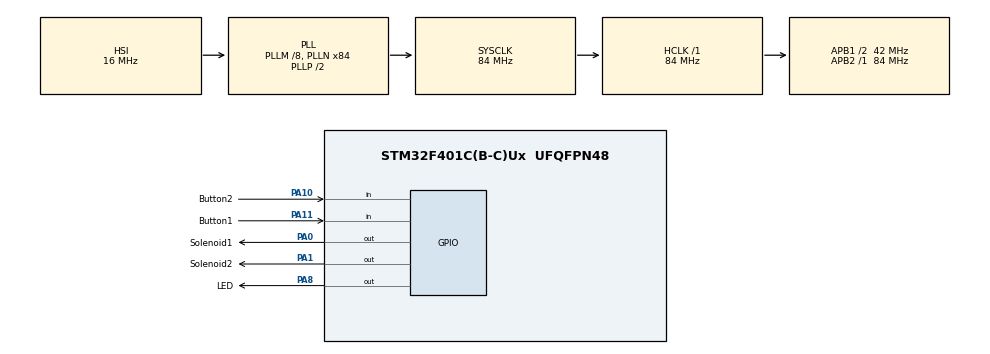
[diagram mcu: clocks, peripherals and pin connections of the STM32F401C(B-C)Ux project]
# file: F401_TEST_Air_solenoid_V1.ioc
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Mcu.Family=STM32F4
Mcu.Name=STM32F401C(B-C)Ux
Mcu.Package=UFQFPN48
NVIC.PriorityGroup=NVIC_PRIORITYGROUP_4
NVIC.TIM5_IRQn=true\:0\:0\:false\:false\:true\:true\:true\:true
PA0-WKUP.GPIO_Label=Solenoid1
PA0-WKUP.Signal=GPIO_Output
PA1.GPIO_Label=Solenoid2
PA1.Signal=GPIO_Output
PA10.GPIO_Label=Button2
PA10.Signal=GPIO_Input
PA11.GPIO_Label=Button1
PA11.Signal=GPIO_Input
PA13.Mode=Serial_Wire
PA13.Signal=SYS_JTMS-SWDIO
PA14.Mode=Serial_Wire
PA14.Signal=SYS_JTCK-SWCLK
PA8.GPIO_Label=LED
PA8.Signal=GPIO_Output
PH0\ -\ OSC_IN.Mode=HSE-External-Oscillator
PH0\ -\ OSC_IN.Signal=RCC_OSC_IN
PH1\ -\ OSC_OUT.Mode=HSE-External-Oscillator
PH1\ -\ OSC_OUT.Signal=RCC_OSC_OUT
ProjectManager.HeapSize=0x200
ProjectManager.StackSize=0x400
ProjectManager.TargetToolchain=STM32CubeIDE
RCC.48MHZClocksFreq_Value=42000000
RCC.AHBFreq_Value=84000000
RCC.APB1CLKDivider=RCC_HCLK_DIV2
RCC.APB1Freq_Value=42000000
RCC.APB1TimFreq_Value=84000000
RCC.APB2Freq_Value=84000000
RCC.APB2TimFreq_Value=84000000
RCC.CortexFreq_Value=84000000
RCC.HCLKFreq_Value=84000000
RCC.HSE_VALUE=25000000
RCC.HSI_VALUE=16000000
RCC.LSE_VALUE=32768
RCC.PLLM=8
RCC.PLLN=84
RCC.SYSCLKFreq_VALUE=84000000
RCC.SYSCLKSource=RCC_SYSCLKSOURCE_PLLCLK
RCC.VCOOutputFreq_Value=168000000
TIM5.AutoReloadPreload=TIM_AUTORELOAD_PRELOAD_ENABLE
TIM5.Period=9999
TIM5.Prescaler=143
VP_TIM5_VS_ClockSourceINT.Mode=Internal
board=custom

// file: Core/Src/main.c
/* USER CODE BEGIN Header */
/**
  ******************************************************************************
  * @file           : main.c
  * @brief          : Main program body
  ******************************************************************************
  * @attention
  *
  * Copyright (c) 2024 STMicroelectronics.
  * All rights reserved.
  *
  * This software is licensed under terms that can be found in the LICENSE file
  * in the root directory of this software component.
  * If no LICENSE file comes with this software, it is provided AS-IS.
  *
  ******************************************************************************
  */
/* USER CODE END Header */
#include "main.h"
#include "tim.h"
#include "gpio.h"

/* USER CODE BEGIN PV */

	     /* BEBOUNCE V6 */

        /*
            volatile uint8_t count = 0;
            uint8_t button1_state = GPIO_PIN_SET;
            uint8_t button2_state = GPIO_PIN_SET;
            uint8_t button1_last_state = GPIO_PIN_SET;
            uint8_t button2_last_state = GPIO_PIN_SET;
        */

    #define DEBOUNCE_TIME_MS 50

    volatile uint8_t count = 0;
    uint8_t button1_state = GPIO_PIN_SET;
    uint8_t button2_state = GPIO_PIN_SET;
    uint8_t button1_last_state = GPIO_PIN_SET;
    uint8_t button2_last_state = GPIO_PIN_SET;
    uint32_t last_button1_time = 0;
    uint32_t last_button2_time = 0;

	/* BUTTON */

		int i = 0;
		int Button1 = 0;
		int State_button = 0;
		long last_time = 0, current_time = 0;

/* USER CODE END PV */

void SystemClock_Config(void);

int main(void)
{

  /* MCU Configuration--------------------------------------------------------*/

  /* Reset of all peripherals, Initializes the Flash interface and the Systick. */
  HAL_Init();

  /* Configure the system clock */
  SystemClock_Config();

  /* Initialize all configured peripherals */
  MX_GPIO_Init();
  MX_TIM5_Init();
  /* USER CODE BEGIN 2 */

	/* TIME BASE */

	  HAL_TIM_Base_Start_IT(&htim5);

  /* USER CODE END 2 */

  /* Infinite loop */
  while (1)
  {

    /* USER CODE BEGIN 3 */

      /*

        HAL_GPIO_TogglePin(GPIOA, GPIO_PIN_8);
        HAL_Delay(200);

      */

  }
  /* USER CODE END 3 */
}

void SystemClock_Config(void)
{
  RCC_OscInitTypeDef RCC_OscInitStruct = {0};
  RCC_ClkInitTypeDef RCC_ClkInitStruct = {0};

  /** Configure the main internal regulator output voltage
  */
  __HAL_RCC_PWR_CLK_ENABLE();
  __HAL_PWR_VOLTAGESCALING_CONFIG(PWR_REGULATOR_VOLTAGE_SCALE2);

  /** Initializes the RCC Oscillators according to the specified parameters
  * in the RCC_OscInitTypeDef structure.
  */
  RCC_OscInitStruct.OscillatorType = RCC_OSCILLATORTYPE_HSI;
  RCC_OscInitStruct.HSIState = RCC_HSI_ON;
  RCC_OscInitStruct.HSICalibrationValue = RCC_HSICALIBRATION_DEFAULT;
  RCC_OscInitStruct.PLL.PLLState = RCC_PLL_ON;
  RCC_OscInitStruct.PLL.PLLSource = RCC_PLLSOURCE_HSI;
  RCC_OscInitStruct.PLL.PLLM = 8;
  RCC_OscInitStruct.PLL.PLLN = 84;
  RCC_OscInitStruct.PLL.PLLP = RCC_PLLP_DIV2;
  RCC_OscInitStruct.PLL.PLLQ = 4;
  if (HAL_RCC_OscConfig(&RCC_OscInitStruct) != HAL_OK)
  {
    Error_Handler();
  }

  /** Initializes the CPU, AHB and APB buses clocks
  */
  RCC_ClkInitStruct.ClockType = RCC_CLOCKTYPE_HCLK|RCC_CLOCKTYPE_SYSCLK
                              |RCC_CLOCKTYPE_PCLK1|RCC_CLOCKTYPE_PCLK2;
  RCC_ClkInitStruct.SYSCLKSource = RCC_SYSCLKSOURCE_PLLCLK;
  RCC_ClkInitStruct.AHBCLKDivider = RCC_SYSCLK_DIV1;
  RCC_ClkInitStruct.APB1CLKDivider = RCC_HCLK_DIV2;
  RCC_ClkInitStruct.APB2CLKDivider = RCC_HCLK_DIV1;

  if (HAL_RCC_ClockConfig(&RCC_ClkInitStruct, FLASH_LATENCY_2) != HAL_OK)
  {
    Error_Handler();
  }
}

/* USER CODE BEGIN 4 */

	/* TIMER CONTROL AIR SOLENOID */

//		void HAL_TIM_PeriodElapsedCallback(TIM_HandleTypeDef *htim) {
//			if (htim->Instance == TIM5) {
//
//			/* BUNTTON 1 */
//
//				if (HAL_GPIO_ReadPin(GPIOA, GPIO_PIN_10) == GPIO_PIN_RESET) {
//
//					HAL_GPIO_WritePin(GPIOA, GPIO_PIN_0, GPIO_PIN_RESET);
//				}
//				else {
//
//					HAL_GPIO_WritePin(GPIOA, GPIO_PIN_0, GPIO_PIN_SET);
//				}
//
//			/* BUNTTON 2*/
//
//				if (HAL_GPIO_ReadPin(GPIOA, GPIO_PIN_11) == GPIO_PIN_RESET) {
//
//					HAL_GPIO_WritePin(GPIOA, GPIO_PIN_1, GPIO_PIN_RESET);
//				}
//				else {
//
//					HAL_GPIO_WritePin(GPIOA, GPIO_PIN_1, GPIO_PIN_SET);
//				}
//			}
//		}

/* TIMER CONTROL AIR SOLENOID USE DEBBOUNCE BUTTON */

//	void HAL_TIM_PeriodElapsedCallback(TIM_HandleTypeDef *htim) {
//		if (htim->Instance == TIM5) {
//			/* BUTTON 1 */
//			if (HAL_GPIO_ReadPin(GPIOA, GPIO_PIN_10) == GPIO_PIN_RESET) {
//				if (HAL_GetTick() - last_button1_time > DEBOUNCE_TIME_MS) {
//					HAL_GPIO_WritePin(GPIOA, GPIO_PIN_0, GPIO_PIN_RESET);
//					last_button1_time = HAL_GetTick();
//				}
//			} else {
//				HAL_GPIO_WritePin(GPIOA, GPIO_PIN_0, GPIO_PIN_SET);
//			}
//
//			/* BUTTON 2 */
//			if (HAL_GPIO_ReadPin(GPIOA, GPIO_PIN_11) == GPIO_PIN_RESET) {
//				if (HAL_GetTick() - last_button2_time > DEBOUNCE_TIME_MS) {
//					HAL_GPIO_WritePin(GPIOA, GPIO_PIN_1, GPIO_PIN_RESET);
//					last_button2_time = HAL_GetTick();
//				}
//			} else {
//				HAL_GPIO_WritePin(GPIOA, GPIO_PIN_1, GPIO_PIN_SET);
//			}
//		}
//	}

	void HAL_TIM_PeriodElapsedCallback(TIM_HandleTypeDef *htim) {
		if (htim->Instance == TIM5) {

		/* BUTTON 1 */

			Button1 = HAL_GPIO_ReadPin(Button1_GPIO_Port, Button1_Pin);
			if (i > 1) {
				i = 0;
			}

		/* BUTTON = 0, STATE_BUTTON = 1 */

			if (Button1 == 0 && State_button == 0) {
				i++;
				State_button = 1;

			}

		/* BUTTON = 1, STATE_BUTTON = 0 */

			if (Button1 == 1 && State_button == 1) {
				State_button = 0;
			}

			/* Toggle LED based on i */

			    if(i == 1) {
			        HAL_GPIO_WritePin(GPIOA, GPIO_PIN_0, GPIO_PIN_SET);   // Turn on LED
			    } else {
			        HAL_GPIO_WritePin(GPIOA, GPIO_PIN_0, GPIO_PIN_RESET); // Turn off LED
			    }

			/* BUTTON 2 */

			    if (HAL_GPIO_ReadPin(GPIOA, GPIO_PIN_11) == GPIO_PIN_RESET) {
			    	if (HAL_GetTick() - last_button2_time > DEBOUNCE_TIME_MS) {
			    		HAL_GPIO_WritePin(GPIOA, GPIO_PIN_1, GPIO_PIN_RESET);
			    		last_button2_time = HAL_GetTick();
			    }
			    } else {
			    		HAL_GPIO_WritePin(GPIOA, GPIO_PIN_1, GPIO_PIN_SET);
			    }

		}
	}

/* USER CODE END 4 */

void Error_Handler(void)
{
  __disable_irq();
  while (1)
  {
  }
}
